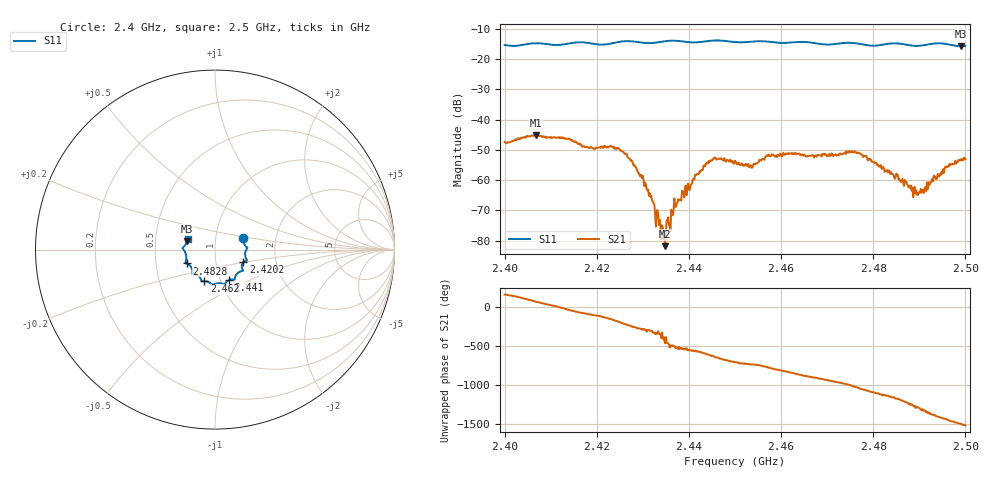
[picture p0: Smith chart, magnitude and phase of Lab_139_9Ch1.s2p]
# Hz S RI R 50
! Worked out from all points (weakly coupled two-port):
!   601 points, 2.4 GHz to 2.5 GHz, reference 50 ohm
!   highest |S21| = -45.17 dB at 2.4068 GHz (marker M1); lowest = -81.8 dB at 2.4348 GHz (marker M2)
!   lowest |S11| = -15.8 dB at 2.499 GHz (marker M3), VSWR 1.38, Z = 36.5 + j3.47 ohm
!   |S11| at or under -10 dB: start of sweep to end of sweep
!   S12 and S22 are empty: the file has one direction only
!   S11 on the Smith chart (normalised r, x): 2.4 GHz: 1.36, +0.18; 2.4202 GHz: 1.36, -0.20; 2.441 GHz: 1.10, -0.39; 2.462 GHz: 0.84, -0.30; 2.4828 GHz: 0.72, -0.11; 2.5 GHz: 0.73, +0.09
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2.4e9  0.1571 0.0631  -0.00413 0.00111  0 0  0 0
2.406833e9  0.1809 0.0105  0.00165 0.00526  0 0  0 0
2.416667e9  0.1779 -0.0599  0.00139 -0.00355  0 0  0 0
2.420167e9  0.1584 -0.0706  -0.000891 -0.00327  0 0  0 0
2.426667e9  0.157 -0.1179  -0.00165 0.00175  0 0  0 0
2.430167e9  0.1348 -0.125  0.00024 0.000932  0 0  0 0
2.433333e9  0.1124 -0.1509  0.000149 0.000223  0 0  0 0
2.434333e9  0.1108 -0.1588  0.000125 -0.000107  0 0  0 0
2.434833e9  0.1105 -0.1619  -1.42e-05 -8.02e-05  0 0  0 0
2.437333e9  0.1075 -0.167  -0.000359 -0.000204  0 0  0 0
2.441e9  0.0786 -0.1696  -0.000998 0.000314  0 0  0 0
2.445167e9  0.0528 -0.1933  -0.000188 0.00217  0 0  0 0
2.45e9  0.0287 -0.1871  0.00199 0.000676  0 0  0 0
2.4535e9  -0.00394 -0.1925  0.00171 -0.000303  0 0  0 0
2.462e9  -0.0601 -0.1756  -0.00118 -0.00248  0 0  0 0
2.466667e9  -0.0777 -0.1683  -0.00253 -0.000339  0 0  0 0
2.475667e9  -0.1261 -0.1326  0.00116 0.00264  0 0  0 0
2.482833e9  -0.1577 -0.0774  0.000936 -0.0011  0 0  0 0
2.483333e9  -0.1607 -0.0762  0.000833 -0.00117  0 0  0 0
2.489667e9  -0.1614 -0.0279  -0.000515 0.000235  0 0  0 0
2.499e9  -0.1545 0.0464  0.00131 -0.00169  0 0  0 0
2.5e9  -0.1515 0.0609  0.000623 -0.00211  0 0  0 0
